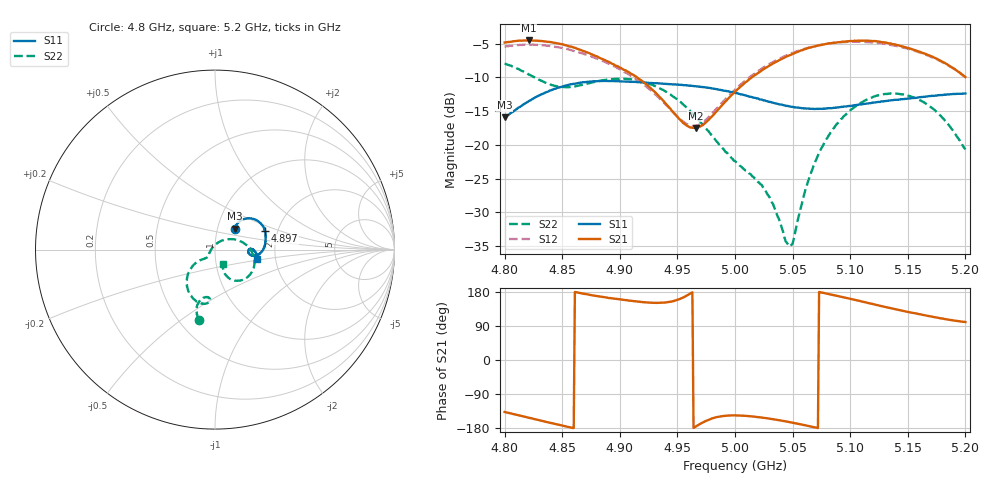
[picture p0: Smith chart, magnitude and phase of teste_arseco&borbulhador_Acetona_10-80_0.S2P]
! Network Analyzer HP8722D
! Hewlett-Packard
! Data name: Linha & Wilkinson
! Saver's name: Rodrigo Anjos
! Comments: Teste da utilizacao de aquisicao continua pelo VNA HP8722D
! Time and date: 25/4/2025 15:16
!  Frequency  S11  S21  S12  S22
# HZ  S  MA R 50
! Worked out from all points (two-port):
!   401 points, 4.8 GHz to 5.2 GHz, reference 50 ohm
!   highest |S21| = -4.50 dB at 4.821 GHz (marker M1); lowest = -17.5 dB at 4.966 GHz (marker M2)
!   |S21| within 3 dB of the highest: start of sweep to 4.888 GHz; 5.038 GHz to 5.178 GHz (140.9 MHz wide, 2.76 % of centre)
!   lowest |S11| = -15.9 dB at 4.8 GHz (marker M3), VSWR 1.38, Z = 60.5 + j14.4 ohm
!   |S11| at or under -10 dB: start of sweep to end of sweep
!   |S22| runs from -35.0 to -7.9 dB; largest |S21 - S12| = 0.067
!   S11 on the Smith chart (normalised r, x): 4.8 GHz: 1.21, +0.29; 4.897 GHz: 1.72, +0.39; 5.2 GHz: 1.60, -0.18
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4.8e9  0.1599 46.5  0.5743 -137.1  0.5366 -132.7  0.401 -102.9
4.821e9  0.2114 48.9  0.5954 -152.5  0.5553 -147.6  0.3325 -107.7
4.845e9  0.2632 41.4  0.5682 -169.7  0.5321 -164.2  0.2724 -102.2
4.867e9  0.2899 32.0  0.5028 175.8  0.4781 -178.1  0.2782 -95.6
4.897e9  0.2964 20.2  0.3856 161.3  0.3766 166.5  0.3091 -102.9
4.934e9  0.2862 9.9  0.2301 150.7  0.2239 157.5  0.2643 -125.3
4.956e9  0.2768 4.3  0.1434 166.4  0.1469 173.3  0.1957 -139.0
4.966e9  0.272 1.7  0.1336 -175.4  0.1387 -169.8  0.1613 -143.0
5e9  0.243 -6.5  0.2475 -146.4  0.2576 -143.4  0.0758 -139.2
5.025e9  0.2139 -9.2  0.3654 -152.6  0.3759 -150.7  0.04769 -140.0
5.033e9  0.2055 -9.0  0.402 -156.1  0.4119 -154.7  0.03638 -149.2
5.044e9  0.1951 -8.0  0.4493 -162.0  0.4579 -160.6  0.01923 169.6
5.048e9  0.1929 -7.4  0.4653 -164.2  0.474 -163.2  0.01771 135.3
5.051e9  0.1905 -6.8  0.4764 -165.9  0.4836 -165.1  0.02001 108.9
5.06e9  0.1866 -4.8  0.5107 -171.7  0.5155 -170.8  0.04276 67.0
5.067e9  0.1853 -3.4  0.5333 -176.4  0.5352 -175.5  0.0653 51.2
5.081e9  0.1871 -0.7  0.5647 174.1  0.5641 175.1  0.1161 29.9
5.096e9  0.1926 1.0  0.5839 164.3  0.5783 164.7  0.1675 11.6
5.114e9  0.2022 1.1  0.5932 151.8  0.5783 152.6  0.2159 -8.5
5.134e9  0.2133 -0.2  0.5651 137.4  0.5523 139.2  0.2401 -29.5
5.168e9  0.2294 -4.9  0.4627 115.9  0.4576 118.2  0.1961 -59.9
5.2e9  0.2404 -12.5  0.3183 100.1  0.3208 102.3  0.09265 -61.0
